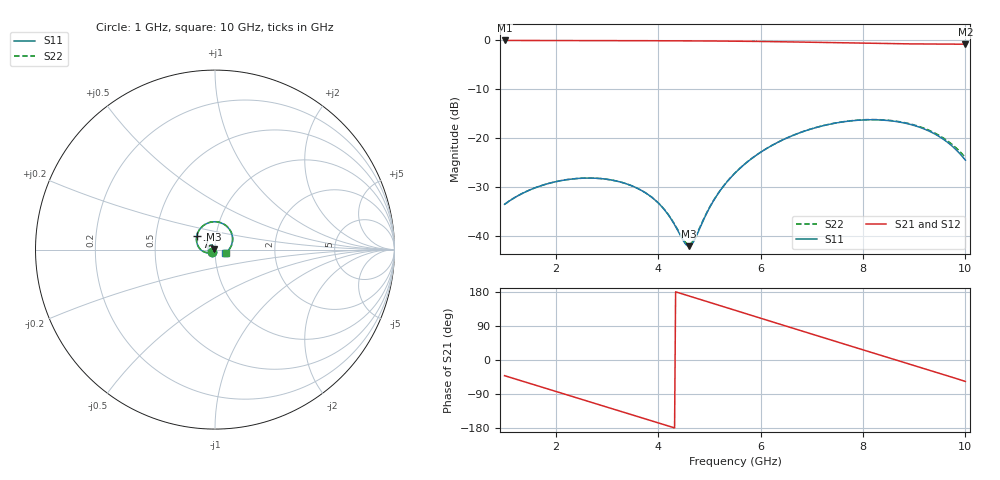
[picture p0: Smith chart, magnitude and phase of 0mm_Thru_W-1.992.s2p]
! Touchstone file exported from HFSS 2018.2.0
!  File:  C:/Users/10024/OneDrive - The University of Nottingham Ningbo China/Year 4/Final Year Project/HFSS project/Patch-1.aedt
!  Generated:  4:45:18 下午  3月 10, 2022
!  Design:  SMA_workbench
!  Project:  Patch-1
!  Setup:  Setup1
!  Solution:  Sweep
! Variables:
!  MW = 1.992mm
!  ThruL = 0.001mm
!  g = 0.2mm
!  subH = 0.8mm
!  subX = 20mm
!  subY = 10.001mm
# GHZ S MA R 50.000000
! Modal data exported
! Port[1] = SMA_CONNECTOR1_1:1
! Port[2] = SMA_CONNECTOR2_1:1
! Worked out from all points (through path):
!   451 points, 1 GHz to 10 GHz, reference 50 ohm
!   highest |S21| = -0.01 dB at 1 GHz (marker M1); lowest = -0.8 dB at 10 GHz (marker M2)
!   group delay of S21, straight-line fit = 116 ps
!   lowest |S11| = -42.0 dB at 4.6 GHz (marker M3), VSWR 1.02, Z = 49.3 + j0.244 ohm
!   |S11| at or under -10 dB: start of sweep to end of sweep
!   |S22| runs from -41.6 to -16.2 dB; largest |S21 - S12| = 3.6e-14
!   S11 on the Smith chart (normalised r, x): 1 GHz: 0.97, -0.03; 7 GHz: 0.81, +0.12; 10 GHz: 1.12, -0.04
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1  0.02123 -131.5  0.9992 -41.4  0.9992 -41.4  0.02123 -131.8
! Gamma ! 0.0151858380091515 30.3716836111746 0.0151858380091328 30.371683611178
! Port Impedance50 0 50 0
1.78  0.03375 -163.2  0.998 -73.7  0.998 -73.7  0.03375 -163.1
2.14  0.03737 -177.6  0.9973 -88.6  0.9973 -88.6  0.03737 -177.5
2.5  0.0392 168.1  0.9966 -103.5  0.9966 -103.5  0.03921 168.3
3.18  0.03674 142.1  0.9951 -131.7  0.9951 -131.7  0.03676 142.5
3.64  0.03007 126.3  0.9938 -150.9  0.9938 -150.9  0.0301 126.9
4  0.02193 117.5  0.9926 -165.9  0.9926 -165.9  0.02201 118.4
4.24  0.01537 117.4  0.9917 -175.9  0.9917 -175.9  0.01551 118.7
4.5  0.008836 139.5  0.9904 173.2  0.9904 173.2  0.009135 140.8
4.6  0.007938 161.8  0.9898 169.1  0.9898 169.1  0.008298 162.2
4.7  0.008983 -174.9  0.9892 164.9  0.9892 164.9  0.009329 -175.6
5.12  0.02492 -149.1  0.9862 147.3  0.9862 147.3  0.0251 -149.8
5.5  0.04424 -157.0  0.9824 131.3  0.9824 131.3  0.04437 -157.4
5.88  0.06531 -170.0  0.9776 115.4  0.9776 115.4  0.06543 -170.2
6.26  0.08687 175.3  0.9717 99.4  0.9717 99.4  0.08701 175.1
6.62  0.1066 160.5  0.9652 84.3  0.9652 84.3  0.1068 160.5
7  0.1254 144.4  0.9574 68.4  0.9574 68.4  0.1256 144.4
7.78  0.1513 110.0  0.9406 36.0  0.9406 36.0  0.1518 110.1
8.5  0.152 76.5  0.9273 6.3  0.9273 6.3  0.153 76.8
9.22  0.1232 39.2  0.9194 -23.5  0.9194 -23.5  0.1254 40.0
9.62  0.09381 14.3  0.9172 -40.3  0.9172 -40.3  0.09692 15.8
10  0.05997 -19.1  0.9154 -56.6  0.9154 -56.6  0.06373 -15.0
